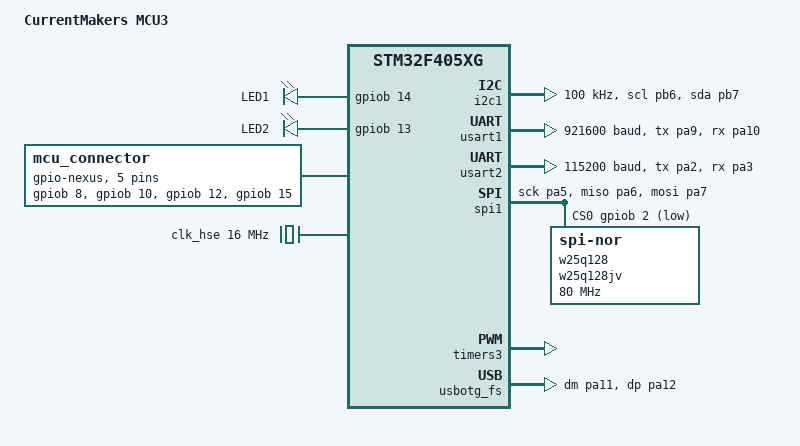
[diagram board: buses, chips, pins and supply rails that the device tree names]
/dts-v1/;
#include <st/f4/stm32f405Xg.dtsi>
#include <st/f4/stm32f405rgtx-pinctrl.dtsi>
#include "./colibri_mcu3-pinctrl.dtsi"
#include <zephyr/dt-bindings/gpio/gpio.h>
#include <zephyr/dt-bindings/pwm/pwm.h>
#include <zephyr/dt-bindings/i2c/i2c.h>

/ {
	model = "CurrentMakers MCU3";
	compatible = "currentmakers,mcu3";

	chosen {
		/* USART2 is your Debugger/Shell link */
		zephyr,console = &usart2;
		zephyr,shell-uart = &usart2;
		zephyr,sram = &sram0;
		zephyr,flash = &flash0;
	};

	leds {
		compatible = "gpio-leds";
		green_led: led_0 {
			gpios = <&gpiob 14 GPIO_ACTIVE_HIGH>;
			label = "LED1";
		};
		red_led: led_1 {
			gpios = <&gpiob 13 GPIO_ACTIVE_HIGH>;
			label = "LED2";
		};
	};

	aliases {
		led0 = &green_led;
		led1 = &red_led;
	};

	/* Connector for Carrier Board (Shield) */
	mcu_connector: mcu-slot-connector {
		compatible = "gpio-nexus";
		#gpio-cells = <2>;
		gpio-map-mask = <0xffffffff 0xffffffff>;
		gpio-map-pass-thru = <0 0>;
		gpio-map = <1 0 &gpiob 8 0>,  /* AUX1 */
				   <2 0 &gpiob 10 0>, /* AUX2 */
				   <3 0 &gpiob 12 0>, /* AUX3 */
				   <4 0 &gpiob 15 0>, /* AUX4 */
				   <5 0 &gpioa 15 0>; /* IO_RST */
	};
};

/* Clock Configuration  */
&clk_hse {
	clock-frequency = <DT_FREQ_M(16)>;
	status = "okay";
};

&pll {
	div-m = <8>;
	mul-n = <72>;
	div-p = <2>;
	div-q = <3>;
	clocks = <&clk_hse>;
	status = "okay";
};

&rcc {
	clocks = <&pll>;
	clock-frequency = <DT_FREQ_M(72)>;
	ahb-prescaler = <1>;
	apb1-prescaler = <2>;
	apb2-prescaler = <1>;
};

/* I2C1: Carrier Bus (configured here so the shield can extend it) */
&i2c1 {
	pinctrl-0 = <&i2c1_scl_pb6 &i2c1_sda_pb7>;
	pinctrl-names = "default";
	clock-frequency = <I2C_BITRATE_STANDARD>;
	status = "okay";
};

/* USART1: Reserved for Carrier Board (e.g., Modbus/RS-485) */
&usart1 {
	pinctrl-0 = <&usart1_tx_pa9 &usart1_rx_pa10>;
	pinctrl-names = "default";
	current-speed = <921600>;
	status = "okay";
};

/* USART2: Dedicated for Debugging */
&usart2 {
	pinctrl-0 = <&usart2_tx_pa2 &usart2_rx_pa3>;
	pinctrl-names = "default";
	current-speed = <115200>;
	status = "okay";
};

&spi1 {
	pinctrl-0 = <&spi1_sck_pa5 &spi1_miso_pa6 &spi1_mosi_pa7>;
	pinctrl-names = "default";
	status = "okay";
	cs-gpios = <&gpiob 2 GPIO_ACTIVE_LOW>;

	w25q128: w25q128jv@0 {
		compatible = "jedec,spi-nor";
		reg = <0>;
		spi-max-frequency = <80000000>;
		size = <0x8000000>; /* 128Mbit */
		jedec-id = [ef 40 18];
		status = "okay";
	};
};

&timers3 {
	status = "okay";
	pwm3: pwm {
		status = "okay";
		pinctrl-0 = <&tim3_ch2_pb5>;
		pinctrl-names = "default";
	};
};

&dma1 {
	status = "okay";
};

&usbotg_fs {
	pinctrl-0 = <&usb_otg_fs_dm_pa11 &usb_otg_fs_dp_pa12>;
	pinctrl-names = "default";
	status = "okay";
};
